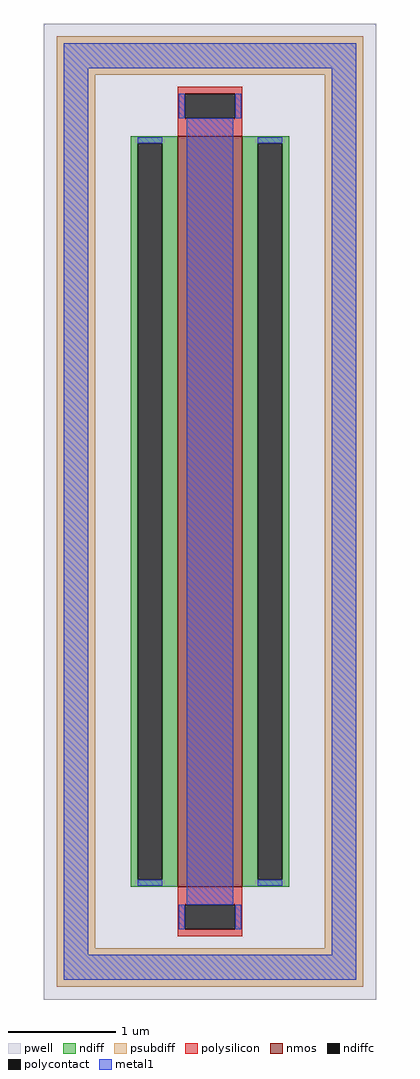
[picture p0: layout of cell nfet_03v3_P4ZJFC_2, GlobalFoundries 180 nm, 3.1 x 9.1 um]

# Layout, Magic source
magic
tech gf180mcuD
magscale 1 10
<< pwell >>
rect -310 -910 310 910
<< nmos >>
rect -60 -700 60 700
<< ndiff >>
rect -148 687 -60 700
rect -148 -687 -135 687
rect -89 -687 -60 687
rect -148 -700 -60 -687
rect 60 687 148 700
rect 60 -687 89 687
rect 135 -687 148 687
rect 60 -700 148 -687
<< ndiffc >>
rect -135 -687 -89 687
rect 89 -687 135 687
<< psubdiff >>
rect -286 814 286 886
rect -286 -814 -214 814
rect 214 -814 286 814
rect -286 -886 286 -814
<< polysilicon >>
rect -60 779 60 792
rect -60 733 -47 779
rect 47 733 60 779
rect -60 700 60 733
rect -60 -733 60 -700
rect -60 -779 -47 -733
rect 47 -779 60 -733
rect -60 -792 60 -779
<< polycontact >>
rect -47 733 47 779
rect -47 -779 47 -733
<< metal1 >>
rect -273 827 273 873
rect -273 -827 -227 827
rect -58 733 -47 779
rect 47 733 58 779
rect -135 687 -89 698
rect -135 -698 -89 -687
rect -43 -733 43 733
rect 89 687 135 698
rect 89 -698 135 -687
rect -58 -779 -47 -733
rect 47 -779 58 -733
rect 227 -827 273 827
rect -273 -873 273 -827
<< properties >>
string FIXED_BBOX -250 -850 250 850
string gencell nfet_03v3
string library gf180mcu
string parameters w 7.0 l 0.6 m 1 nf 1 diffcov 100 polycov 100 guard 1 glc 1 grc 1 gtc 0 gbc 0 tbcov 100 rlcov 100 topc 1 botc 1 poverlap 0 doverlap 1 lmin 0.28 wmin 0.22 class mosfet full_metal 1 compatible {nfet_03v3 nfet_05v0 nfet_06v0 nfet_06v0_nvt} ad {int((nf+1)/2) * W/nf * 0.18u} as {int((nf+2)/2) * W/nf * 0.18u} pd {2*int((nf+1)/2) * (W/nf + 0.18u)} ps {2*int((nf+2)/2) * (W/nf + 0.18u)} nrd {0.18u / W} nrs {0.18u / W} sa 0 sb 0 sd 0
<< end >>
